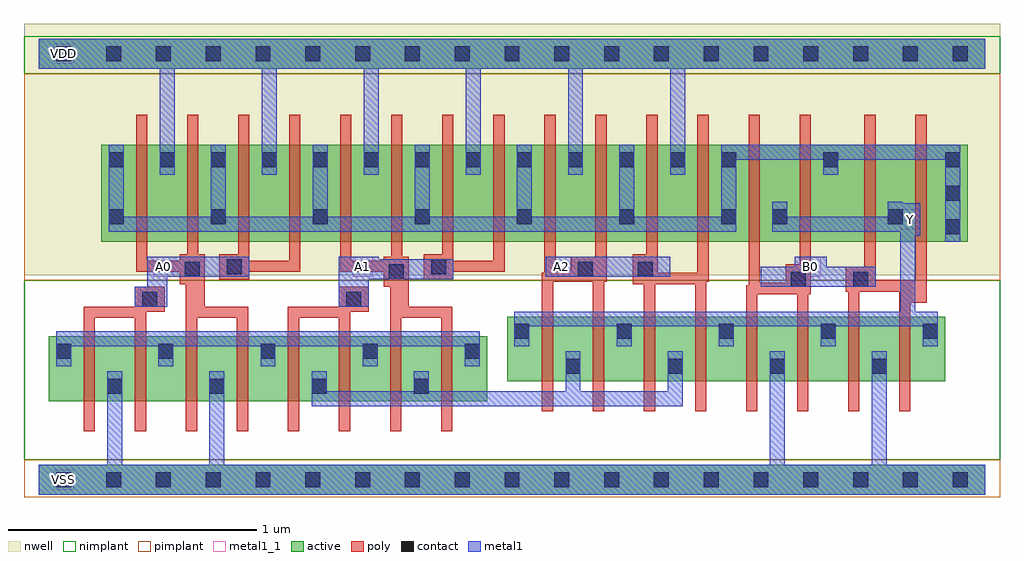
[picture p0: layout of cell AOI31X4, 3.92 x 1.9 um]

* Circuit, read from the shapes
.subckt AOI31X4 A0 A1 A2 B0 VDD VSS Y
M1 VSS A0 n1 VSS nfet w=0.26u l=0.045u m=4
M2 n2 A1 n1 VSS nfet w=0.26u l=0.045u m=4
M3 n2 A2 Y VSS nfet w=0.26u l=0.045u m=4
M4 VSS B0 Y VSS nfet w=0.26u l=0.045u m=4
M5 VDD A0 n3 VDD pfet w=0.39u l=0.045u m=4
M6 VDD A1 n3 VDD pfet w=0.39u l=0.045u m=4
M7 VDD A2 n3 VDD pfet w=0.39u l=0.045u m=4
M8 Y B0 n3 VDD pfet w=0.39u l=0.045u m=4
.ends

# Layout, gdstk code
import gdstk
lib = gdstk.Library(unit=1e-6, precision=5e-10)
def R(c, l, rs):  # rectangles x0, y0, x1, y1
    for r in rs: c.add(gdstk.rectangle(r[:2], r[2:], *l))
def A(c, l, x, y, w, h, nx, ny, dx, dy):  # array of equal rectangles
    R(c, l, [(x+i*dx, y+j*dy, x+i*dx+w, y+j*dy+h) for i in range(nx) for j in range(ny)])
def P(c, l, *ps):  # polygons
    for p in ps: c.add(gdstk.Polygon(p, *l))
active = (1, 0)
nwell = (2, 0)
poly = (3, 0)
nimplant = (4, 0)
pimplant = (5, 0)
contact = (6, 0)
metal1 = (7, 0)
metal1_1 = (7, 1)

aoi31x4 = lib.new_cell('AOI31X4')
R(aoi31x4, active, [(0,-0.06,3.8,0.06), (0.04,0.315,1.8,0.575), (1.88,0.395,3.64,0.655), (0.25,0.955,3.73,1.345), (0,1.65,3.8,1.77)])
R(aoi31x4, nwell, [(-0.06,0.82,3.86,1.83)])
P(aoi31x4, poly, [(0.39,1.465),(0.435,1.465),(0.435,0.88),(0.565,0.88),(0.565,0.905),(0.595,0.905),(0.595,1.465),(0.64,1.465),(0.64,0.905),(0.665,0.905),(0.665,0.695),(0.84,0.695),(0.84,0.195),(0.795,0.195),(0.795,0.65),(0.635,0.65),(0.635,0.195),(0.59,0.195),(0.59,0.785),(0.565,0.785),(0.565,0.835),(0.39,0.835)],
  [(0.8,1.465),(0.845,1.465),(0.845,0.88),(1.005,0.88),(1.005,1.465),(1.05,1.465),(1.05,0.835),(0.845,0.835),(0.845,0.805),(0.725,0.805),(0.725,0.905),(0.8,0.905)],
  [(1.21,1.465),(1.255,1.465),(1.255,0.88),(1.385,0.88),(1.385,0.895),(1.415,0.895),(1.415,1.465),(1.46,1.465),(1.46,0.895),(1.485,0.895),(1.485,0.695),(1.66,0.695),(1.66,0.195),(1.615,0.195),(1.615,0.65),(1.455,0.65),(1.455,0.195),(1.41,0.195),(1.41,0.775),(1.385,0.775),(1.385,0.835),(1.21,0.835)],
  [(1.62,1.465),(1.665,1.465),(1.665,0.88),(1.825,0.88),(1.825,1.465),(1.87,1.465),(1.87,0.835),(1.665,0.835),(1.665,0.805),(1.545,0.805),(1.545,0.905),(1.62,0.905)],
  [(2.03,1.465),(2.075,1.465),(2.075,0.84),(2.135,0.84),(2.135,0.895),(2.235,0.895),(2.235,1.465),(2.28,1.465),(2.28,0.795),(2.27,0.795),(2.27,0.275),(2.225,0.275),(2.225,0.795),(2.065,0.795),(2.065,0.275),(2.02,0.275),(2.02,0.83),(2.03,0.83)],
  [(2.44,1.465),(2.485,1.465),(2.485,0.83),(2.645,0.83),(2.645,1.465),(2.69,1.465),(2.69,0.795),(2.68,0.795),(2.68,0.275),(2.635,0.275),(2.635,0.785),(2.475,0.785),(2.475,0.275),(2.43,0.275),(2.43,0.785),(2.385,0.785),(2.385,0.905),(2.44,0.905)],
  [(2.85,1.465),(2.895,1.465),(2.895,0.79),(3,0.79),(3,0.865),(3.055,0.865),(3.055,1.465),(3.1,1.465),(3.1,0.745),(3.09,0.745),(3.09,0.275),(3.045,0.275),(3.045,0.745),(2.885,0.745),(2.885,0.275),(2.84,0.275),(2.84,0.78),(2.85,0.78)],
  [(3.315,1.465),(3.36,1.465),(3.36,0.8),(3.52,0.8),(3.52,1.465),(3.565,1.465),(3.565,0.71),(3.5,0.71),(3.5,0.275),(3.455,0.275),(3.455,0.755),(3.295,0.755),(3.295,0.275),(3.25,0.275),(3.25,0.755),(3.24,0.755),(3.24,0.855),(3.315,0.855)],
  [(0.385,0.775),(0.505,0.775),(0.505,0.675),(0.43,0.675),(0.43,0.195),(0.385,0.195),(0.385,0.65),(0.225,0.65),(0.225,0.195),(0.18,0.195),(0.18,0.695),(0.385,0.695)],
  [(1.205,0.775),(1.325,0.775),(1.325,0.675),(1.25,0.675),(1.25,0.195),(1.205,0.195),(1.205,0.65),(1.045,0.65),(1.045,0.195),(1,0.195),(1,0.695),(1.205,0.695)])
R(aoi31x4, nimplant, [(-0.06,0.08,3.86,0.8), (-0.06,1.63,3.86,1.78)])
R(aoi31x4, pimplant, [(-0.06,-0.07,3.86,0.08), (-0.06,0.8,3.86,1.63)])
A(aoi31x4, contact, 0.07, -0.03, 0.06, 0.06, 19, 2, 0.2, 1.71)
A(aoi31x4, contact, 0.275, 0.345, 0.06, 0.06, 4, 1, 0.41, 0)
A(aoi31x4, contact, 2.115, 0.425, 0.06, 0.06, 4, 1, 0.41, 0)
A(aoi31x4, contact, 0.07, 0.485, 0.06, 0.06, 5, 1, 0.41, 0)
A(aoi31x4, contact, 1.91, 0.565, 0.06, 0.06, 5, 1, 0.41, 0)
A(aoi31x4, contact, 3.64, 0.985, 0.06, 0.06, 1, 3, 0, 0.135)
A(aoi31x4, contact, 0.28, 1.025, 0.06, 0.06, 7, 1, 0.41, 0)
A(aoi31x4, contact, 0.28, 1.255, 0.06, 0.06, 13, 1, 0.205, 0)
R(aoi31x4, contact, [(0.415,0.695,0.475,0.755), (1.235,0.695,1.295,0.755), (3.02,0.775,3.08,0.835), (3.27,0.775,3.33,0.835), (1.405,0.805,1.465,0.865), (0.585,0.815,0.645,0.875), (2.165,0.815,2.225,0.875), (2.405,0.815,2.465,0.875), (0.755,0.825,0.815,0.885), (1.575,0.825,1.635,0.885), (2.945,1.025,3.005,1.085), (3.41,1.025,3.47,1.085), (3.15,1.255,3.21,1.315)])
R(aoi31x4, metal1, [(2.035,0.815,2.535,0.895)])
P(aoi31x4, metal1, [(1.095,0.435),(1.155,0.435),(1.155,0.355),(1.505,0.355),(1.505,0.435),(1.565,0.435),(1.565,0.355),(2.115,0.355),(2.115,0.515),(2.175,0.515),(2.175,0.355),(2.525,0.355),(2.525,0.515),(2.585,0.515),(2.585,0.295),(1.095,0.295)],
  [(0,1.77),(3.8,1.77),(3.8,1.65),(2.595,1.65),(2.595,1.225),(2.535,1.225),(2.535,1.65),(2.185,1.65),(2.185,1.225),(2.125,1.225),(2.125,1.65),(1.775,1.65),(1.775,1.225),(1.715,1.225),(1.715,1.65),(1.365,1.65),(1.365,1.225),(1.305,1.225),(1.305,1.65),(0.955,1.65),(0.955,1.225),(0.895,1.225),(0.895,1.65),(0.545,1.65),(0.545,1.225),(0.485,1.225),(0.485,1.65),(0,1.65)],
  [(0.28,1.345),(0.34,1.345),(0.34,1.055),(0.69,1.055),(0.69,1.345),(0.75,1.345),(0.75,1.055),(1.1,1.055),(1.1,1.345),(1.16,1.345),(1.16,1.055),(1.51,1.055),(1.51,1.345),(1.57,1.345),(1.57,1.055),(1.92,1.055),(1.92,1.345),(1.98,1.345),(1.98,1.055),(2.33,1.055),(2.33,1.345),(2.39,1.345),(2.39,1.055),(2.74,1.055),(2.74,1.345),(3.7,1.345),(3.7,0.955),(3.64,0.955),(3.64,1.285),(3.21,1.285),(3.21,1.225),(3.15,1.225),(3.15,1.285),(2.8,1.285),(2.8,0.995),(0.28,0.995)],
  [(2.945,1.115),(3.005,1.115),(3.005,1.055),(3.41,1.055),(3.41,1.115),(3.47,1.115),(3.47,1.11),(3.54,1.11),(3.54,0.98),(3.52,0.98),(3.52,0.675),(3.61,0.675),(3.61,0.535),(3.55,0.535),(3.55,0.615),(3.2,0.615),(3.2,0.535),(3.14,0.535),(3.14,0.615),(2.79,0.615),(2.79,0.535),(2.73,0.535),(2.73,0.615),(2.38,0.615),(2.38,0.535),(2.32,0.535),(2.32,0.615),(1.97,0.615),(1.97,0.535),(1.91,0.535),(1.91,0.675),(3.46,0.675),(3.46,0.995),(2.945,0.995)],
  [(0.435,0.895),(0.845,0.895),(0.845,0.815),(0.515,0.815),(0.515,0.695),(0.385,0.695),(0.385,0.775),(0.435,0.775)],
  [(1.205,0.895),(1.365,0.895),(1.365,0.885),(1.665,0.885),(1.665,0.805),(1.325,0.805),(1.325,0.695),(1.205,0.695)],
  [(3.035,0.895),(3.165,0.895),(3.165,0.855),(3.36,0.855),(3.36,0.775),(2.9,0.775),(2.9,0.855),(3.035,0.855)],
  [(0.07,0.595),(1.77,0.595),(1.77,0.455),(1.71,0.455),(1.71,0.535),(1.36,0.535),(1.36,0.455),(1.3,0.455),(1.3,0.535),(0.95,0.535),(0.95,0.455),(0.89,0.455),(0.89,0.535),(0.54,0.535),(0.54,0.455),(0.48,0.455),(0.48,0.535),(0.13,0.535),(0.13,0.455),(0.07,0.455)],
  [(0.275,0.435),(0.335,0.435),(0.335,0.06),(0.685,0.06),(0.685,0.435),(0.745,0.435),(0.745,0.06),(2.935,0.06),(2.935,0.515),(2.995,0.515),(2.995,0.06),(3.345,0.06),(3.345,0.515),(3.405,0.515),(3.405,0.06),(3.8,0.06),(3.8,-0.06),(0,-0.06),(0,0.06),(0.275,0.06)])
A(aoi31x4, metal1_1, 0.46, 0.815, 0.08, 0.08, 3, 1, 0.8, 0)
R(aoi31x4, metal1_1, [(0.06,-0.04,0.14,0.04), (3.06,0.815,3.14,0.895), (3.46,1.005,3.54,1.085), (0.06,1.67,0.14,1.75)])
aoi31x4.add(gdstk.Label('Y', (3.5,1.045), layer=7, texttype=1))
aoi31x4.add(gdstk.Label('A0', (0.5,0.855), layer=7, texttype=1))
aoi31x4.add(gdstk.Label('A1', (1.3,0.855), layer=7, texttype=1))
aoi31x4.add(gdstk.Label('B0', (3.1,0.855), layer=7, texttype=1))
aoi31x4.add(gdstk.Label('A2', (2.1,0.855), layer=7, texttype=1))
aoi31x4.add(gdstk.Label('VDD', (0.1,1.71), layer=7, texttype=1))
aoi31x4.add(gdstk.Label('VSS', (0.1,0), layer=7, texttype=1))
aoi31x4.add(gdstk.Label('AOI31X4', (0,0), layer=63, texttype=0))

lib.write_gds('AOI31X4.gds')
